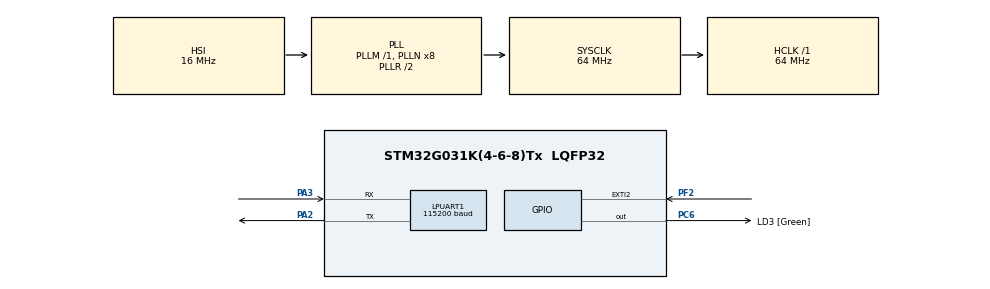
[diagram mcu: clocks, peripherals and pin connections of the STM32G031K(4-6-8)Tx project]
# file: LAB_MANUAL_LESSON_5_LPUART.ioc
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LPUART1.BaudRate=115200
LPUART1.WordLength=UART_WORDLENGTH_8B
Mcu.Family=STM32G0
Mcu.Name=STM32G031K(4-6-8)Tx
Mcu.Package=LQFP32
NVIC.EXTI2_3_IRQn=true\:1\:0\:true\:false\:true\:true\:true
PA13.GPIO_Label=T_JTMS
PA13.Mode=Serial_Wire
PA13.Signal=SYS_SWDIO
PA14-BOOT0.GPIO_Label=T_JTCK
PA14-BOOT0.Mode=Serial_Wire
PA14-BOOT0.Signal=SYS_SWCLK
PA2.Mode=Asynchronous
PA2.Signal=LPUART1_TX
PA3.Mode=Asynchronous
PA3.Signal=LPUART1_RX
PC14-OSC32_IN\ (PC14).Mode=LSE-External-Oscillator
PC14-OSC32_IN\ (PC14).Signal=RCC_OSC32_IN
PC15-OSC32_OUT\ (PC15).Mode=LSE-External-Oscillator
PC15-OSC32_OUT\ (PC15).Signal=RCC_OSC32_OUT
PC6.GPIO_Label=LD3 [Green]
PC6.Signal=GPIO_Output
PF2\ -\ NRST.Signal=GPXTI2
ProjectManager.HeapSize=0x200
ProjectManager.StackSize=0x400
ProjectManager.TargetToolchain=MDK-ARM V5
RCC.ADCFreq_Value=64000000
RCC.AHBFreq_Value=64000000
RCC.CortexFreq_Value=64000000
RCC.EXTERNAL_CLOCK_VALUE=12288000
RCC.HCLKFreq_Value=64000000
RCC.HSE_VALUE=8000000
RCC.HSI_VALUE=16000000
RCC.LPUART1CLockSelection=RCC_LPUART1CLKSOURCE_HSI
RCC.SYSCLKFreq_VALUE=64000000
RCC.SYSCLKSource=RCC_SYSCLKSOURCE_PLLCLK
RCC.VCOOutputFreq_Value=128000000
board=NUCLEO-G031K8

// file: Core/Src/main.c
/* USER CODE BEGIN Header */
/**
  ******************************************************************************
  * @file           : main.c
  * @brief          : Main program body
  ******************************************************************************
  * @attention
  *
  * <h2><center>&copy; Copyright (c) 2019 STMicroelectronics.
  * All rights reserved.</center></h2>
  *
  * This software component is licensed by ST under BSD 3-Clause license,
  * the "License"; You may not use this file except in compliance with the
  * License. You may obtain a copy of the License at:
  *                        opensource.org/licenses/BSD-3-Clause
  *
  ******************************************************************************
  */
/* USER CODE END Header */

#include "main.h"
#include "usart.h"
#include "gpio.h"

/* USER CODE BEGIN Includes */
#include "pwr.h"
/* USER CODE END Includes */

void SystemClock_Config(void);

int main(void)
{

    /* MCU Configuration--------------------------------------------------------*/

    /* Reset of all peripherals, Initializes the Flash interface and the Systick. */
    HAL_Init();

    /* Configure the system clock */
    SystemClock_Config();

    /* Initialize all configured peripherals */
    MX_GPIO_Init();
    MX_LPUART1_UART_Init();
    /* USER CODE BEGIN 2 */
    PRINTF("This is Test for LPUART\r\n");
		LED_Blinking_5s();
    /* USER CODE END 2 */

    /* Infinite loop */
    while (1)
    {

        /* USER CODE BEGIN 3 */
        HAL_GPIO_WritePin(LD3_GPIO_Port, LD3_Pin, GPIO_PIN_SET);
        HAL_Delay(200);
        HAL_GPIO_WritePin(LD3_GPIO_Port, LD3_Pin, GPIO_PIN_RESET);
        HAL_Delay(200);
#if 0
        //准备进入低功耗模式
        ///HAL_UART_MspDeInit(&hlpuart1);//关掉UART
        __HAL_UART_DISABLE(&hlpuart1);
        HAL_GPIO_DeInit(GPIOA, GPIO_PIN_2 | GPIO_PIN_3);//关掉UART,不要用MspDeinit，只DeInitGpio就可以
        HAL_GPIO_WritePin(LD3_GPIO_Port, LD3_Pin, GPIO_PIN_RESET);//关闭之前在使用，睡眠模式不需要的GPIO
        MX_PWR_GPIO_Init();           //关掉所有GPIO为模拟输入
        //MX_PWR_SystemClock_Init();    //关掉无关的时钟，注意当Hse或HSI作为系统时钟或者使能PLL到的时候，不能关闭HSE||HSI
        MX_PWR_Init(STOP1, PWR_STOPENTRY_WFI);//进入低功耗模式//3.3ua
        //MX_PWR_Init(STOP0, PWR_STOPENTRY_WFI);//90ua
        //
        //。。。。进入低功耗模式

        //退出低功耗模式
        SystemClock_Config();
        //MX_PWR_SystemClock_fromSTOP();
        HAL_GPIO_DeInit(LD3_GPIO_Port, LD3_Pin);
        //HAL_UART_MspDeInit(&hlpuart1);
        MX_GPIO_Init();
        LED_Blinking_5s();
        //HAL_GPIO_TogglePin(T_LED_GPIO_Port, T_LED_Pin);
        //MX_LPUART1_UART_Init();
        UART_Out_Stop(&hlpuart1);
        __HAL_UART_ENABLE(&hlpuart1);
        //UART_SendByte(&hlpuart1,0x79);
        PRINTF("This is Wakeup Event\r\n");
#endif
    }
    /* USER CODE END 3 */
}

void SystemClock_Config(void)
{
    RCC_OscInitTypeDef RCC_OscInitStruct = {0};
    RCC_ClkInitTypeDef RCC_ClkInitStruct = {0};
    RCC_PeriphCLKInitTypeDef PeriphClkInit = {0};

    /** Configure the main internal regulator output voltage
    */
    HAL_PWREx_ControlVoltageScaling(PWR_REGULATOR_VOLTAGE_SCALE1);
    /** Initializes the CPU, AHB and APB busses clocks
    */
    RCC_OscInitStruct.OscillatorType = RCC_OSCILLATORTYPE_HSI;
    RCC_OscInitStruct.HSIState = RCC_HSI_ON;
    RCC_OscInitStruct.HSIDiv = RCC_HSI_DIV1;
    RCC_OscInitStruct.HSICalibrationValue = RCC_HSICALIBRATION_DEFAULT;
    RCC_OscInitStruct.PLL.PLLState = RCC_PLL_ON;
    RCC_OscInitStruct.PLL.PLLSource = RCC_PLLSOURCE_HSI;
    RCC_OscInitStruct.PLL.PLLM = RCC_PLLM_DIV1;
    RCC_OscInitStruct.PLL.PLLN = 8;
    RCC_OscInitStruct.PLL.PLLP = RCC_PLLP_DIV2;
    RCC_OscInitStruct.PLL.PLLQ = RCC_PLLQ_DIV2;
    RCC_OscInitStruct.PLL.PLLR = RCC_PLLR_DIV2;
    if (HAL_RCC_OscConfig(&RCC_OscInitStruct) != HAL_OK)
    {
        Error_Handler();
    }
    /** Initializes the CPU, AHB and APB busses clocks
    */
    RCC_ClkInitStruct.ClockType = RCC_CLOCKTYPE_HCLK | RCC_CLOCKTYPE_SYSCLK
                                  | RCC_CLOCKTYPE_PCLK1;
    RCC_ClkInitStruct.SYSCLKSource = RCC_SYSCLKSOURCE_PLLCLK;
    RCC_ClkInitStruct.AHBCLKDivider = RCC_SYSCLK_DIV1;
    RCC_ClkInitStruct.APB1CLKDivider = RCC_HCLK_DIV1;

    if (HAL_RCC_ClockConfig(&RCC_ClkInitStruct, FLASH_LATENCY_2) != HAL_OK)
    {
        Error_Handler();
    }
    /** Initializes the peripherals clocks
    */
    PeriphClkInit.PeriphClockSelection = RCC_PERIPHCLK_LPUART1;
    PeriphClkInit.Lpuart1ClockSelection = RCC_LPUART1CLKSOURCE_HSI;
    if (HAL_RCCEx_PeriphCLKConfig(&PeriphClkInit) != HAL_OK)
    {
        Error_Handler();
    }
}

/* USER CODE BEGIN 4 */
void HAL_GPIO_EXTI_Falling_Callback(uint16_t GPIO_Pin)
{
    if(GPIO_Pin == GPIO_PIN_2)
    {
        PRINTF("GPIO_PIN_2\r\n");

    }
}
/* USER CODE END 4 */

void Error_Handler(void)
{
}

/************************ (C) COPYRIGHT STMicroelectronics *****END OF FILE****/
